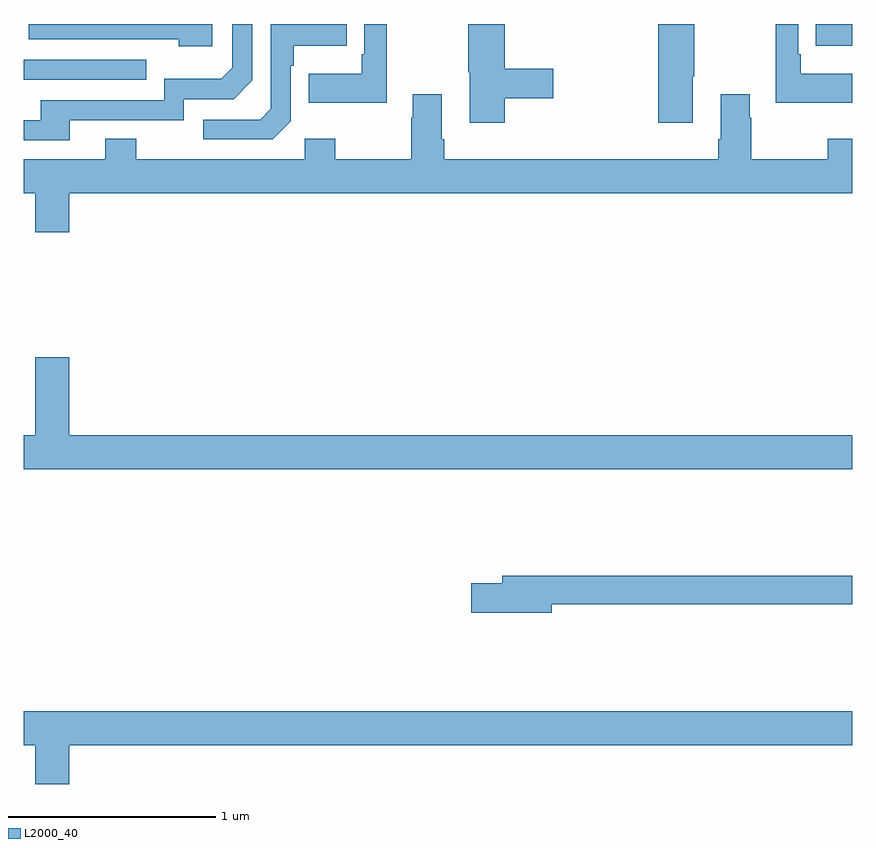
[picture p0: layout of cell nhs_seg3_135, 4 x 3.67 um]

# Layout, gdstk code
import gdstk
lib = gdstk.Library(unit=1e-6, precision=1e-09)
def R(c, l, rs):  # rectangles x0, y0, x1, y1
    for r in rs: c.add(gdstk.rectangle(r[:2], r[2:], *l))
def P(c, l, *ps):  # polygons
    for p in ps: c.add(gdstk.Polygon(p, *l))
L2000_40 = (2000, 40)

nhs_seg3_135 = lib.new_cell('nhs_seg3_135')
R(nhs_seg3_135, L2000_40, [(117,700.131,117.593,700.227), (120.823,700.295,121,700.4)])
P(nhs_seg3_135, L2000_40, [(117.223,699.936),(117.774,699.936),(117.774,700.038),(118.014,700.038),(118.104,700.128),(118.104,700.4),(118.008,700.4),(118.008,700.188),(117.955,700.135),(117.678,700.135),(117.678,700.032),(117.083,700.032),(117.083,699.936),(117,699.936),(117,699.84),(117.223,699.84)],
  [(120.229,700.147),(120.237,700.147),(120.237,700.4),(120.062,700.4),(120.062,699.924),(120.229,699.924)],
  [(118.753,700.4),(118.644,700.4),(118.644,700.255),(118.632,700.255),(118.632,700.159),(118.375,700.159),(118.375,700.019),(118.753,700.019)],
  [(121,700.159),(120.751,700.159),(120.751,700.255),(120.738,700.255),(120.738,700.4),(120.63,700.4),(120.63,700.019),(121,700.019)],
  [(119.321,700.042),(119.557,700.042),(119.557,700.184),(119.321,700.184),(119.321,700.4),(119.146,700.4),(119.146,700.167),(119.153,700.167),(119.153,699.924),(119.321,699.924)],
  [(117.91,700.4),(117.024,700.4),(117.024,700.326),(117.749,700.326),(117.749,700.292),(117.91,700.292)],
  [(118.29,699.93),(118.29,700.199),(118.303,700.199),(118.303,700.295),(118.559,700.295),(118.559,700.4),(118.194,700.4),(118.194,699.99),(118.143,699.939),(117.867,699.939),(117.867,699.843),(118.203,699.843)],
  [(117.22,699.584),(121,699.584),(121,699.847),(120.88,699.847),(120.88,699.748),(120.513,699.748),(120.513,699.947),(120.505,699.947),(120.505,700.06),(120.365,700.06),(120.365,699.844),(120.353,699.844),(120.353,699.748),(119.03,699.748),(119.03,699.844),(119.017,699.844),(119.017,700.06),(118.877,700.06),(118.877,699.947),(118.87,699.947),(118.87,699.748),(118.503,699.748),(118.503,699.847),(118.356,699.847),(118.356,699.748),(117.543,699.748),(117.543,699.847),(117.395,699.847),(117.395,699.748),(117,699.748),(117,699.584),(117.056,699.584),(117.056,699.396),(117.22,699.396)],
  [(121,698.416),(117.22,698.416),(117.22,698.791),(117.056,698.791),(117.056,698.416),(117,698.416),(117,698.252),(121,698.252)],
  [(119.548,697.6),(121,697.6),(121,697.736),(119.309,697.736),(119.309,697.7),(119.16,697.7),(119.16,697.558),(119.548,697.558)],
  [(117.22,696.92),(121,696.92),(121,697.084),(117,697.084),(117,696.92),(117.056,696.92),(117.056,696.732),(117.22,696.732)])

lib.write_gds('nhs_seg3_135.gds')
